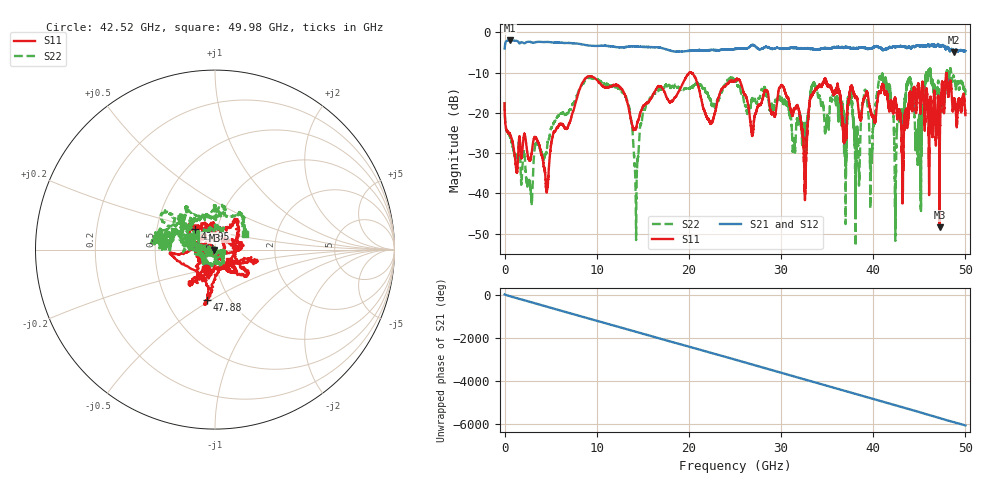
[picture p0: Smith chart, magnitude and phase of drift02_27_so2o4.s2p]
!Created with skrf (http://scikit-rf.org).
# Hz S RI R 50.0
!freq ReS11 ImS11 ReS21 ImS21 ReS12 ImS12 ReS22 ImS22
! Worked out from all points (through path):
!   10001 points, 300 kHz to 50 GHz, reference 50 ohm
!   highest |S21| = -2.00 dB at 550.3 MHz (marker M1); lowest = -4.9 dB at 48.76 GHz (marker M2)
!   group delay of S21, straight-line fit = 337 ps
!   lowest |S11| = -48.4 dB at 47.2 GHz (marker M3), VSWR 1.01, Z = 49.7 - j0.202 ohm
!   |S11| at or under -10 dB: start of sweep to 20.06 GHz; 20.20641 GHz to 20.22161 GHz (15.2 MHz wide, 0.0752 % of centre); 20.24 GHz to end of sweep (the widest 3 of 5)
!   |S22| runs from -53.1 to -8.9 dB; largest |S21 - S12| = 0.032
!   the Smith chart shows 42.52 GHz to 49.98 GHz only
!   S11 on the Smith chart (normalised r, x): 42.52 GHz: 0.89, -0.19; 43.95 GHz: 0.78, +0.18; 47.88 GHz: 0.78, -0.48; 49.98 GHz: 1.16, -0.15
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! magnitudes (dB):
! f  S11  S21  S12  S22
! 300 kHz  -17.6  -4.0  -4.0  -17.3
! 550.3 MHz  -25.2  -2.0  -2.0  -25.9
! 4.565 GHz  -39.7  -2.4  -2.4  -29.5
! 8.335 GHz  -13.0  -2.9  -2.9  -13.3
! 13.01 GHz  -15.3  -3.7  -3.7  -15.6
! 14.28 GHz  -23.7  -3.5  -3.5  -46.7
! 16.67 GHz  -13.4  -3.7  -3.7  -14.5
! 25 GHz  -12.1  -4.1  -4.1  -12.1
! 30.18 GHz  -13.3  -4.1  -4.1  -16.8
! 32.56 GHz  -39.5  -3.9  -3.9  -24.9
! 33.34 GHz  -15.8  -4.0  -4.1  -13.5
! 38.28 GHz  -16.9  -4.0  -4.0  -23.8
! 41.67 GHz  -18.3  -3.8  -3.9  -13.0
! 42.52 GHz  -18.6  -3.6  -3.6  -28.7
! 43.95 GHz  -16.0  -3.7  -3.6  -11.2
! 44.99 GHz  -14.3  -3.4  -3.3  -20.7
! 45.91 GHz  -18.0  -3.2  -3.2  -10.6
! 47.2 GHz  -48.4  -3.4  -3.4  -17.2
! 47.88 GHz  -10.9  -4.0  -4.0  -13.2
! 48.76 GHz  -16.8  -4.9  -4.8  -10.9
! 49.98 GHz  -20.0  -4.6  -4.6  -14.5
! 50 GHz  -20.5  -4.6  -4.6  -15.2
